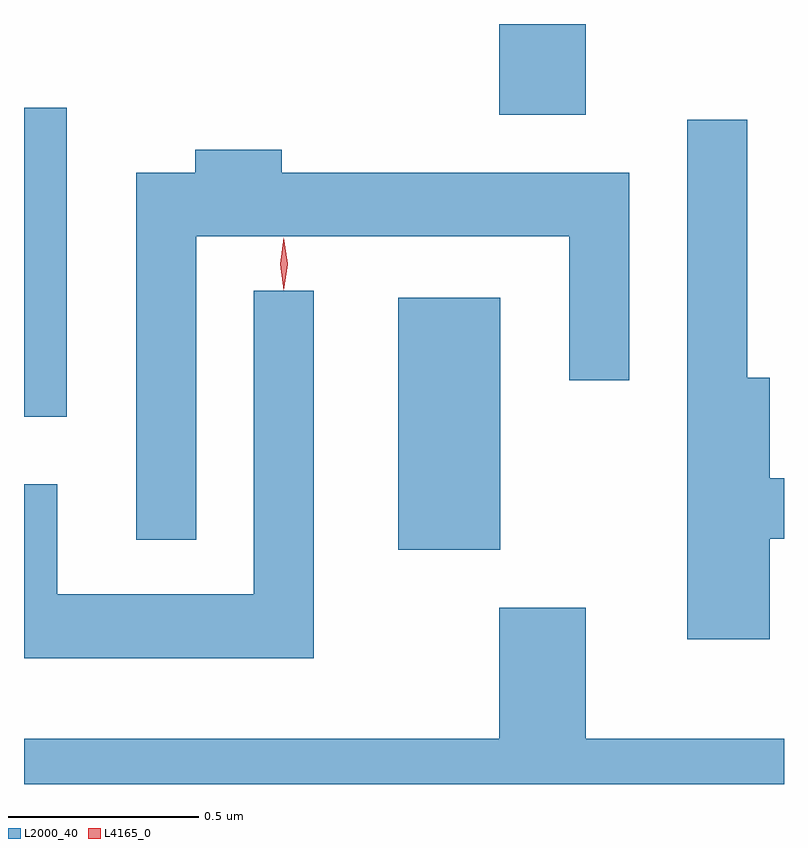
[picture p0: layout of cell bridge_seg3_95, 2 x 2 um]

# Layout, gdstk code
import gdstk
lib = gdstk.Library(unit=1e-6, precision=1e-09)
def R(c, l, rs):  # rectangles x0, y0, x1, y1
    for r in rs: c.add(gdstk.rectangle(r[:2], r[2:], *l))
def P(c, l, *ps):  # polygons
    for p in ps: c.add(gdstk.Polygon(p, *l))
L2000_40 = (2000, 40)
L4165_0 = (4165, 0)

bridge_seg3_95 = lib.new_cell('bridge_seg3_95')
R(bridge_seg3_95, L2000_40, [(923.806,1231.121,924.074,1231.784), (922.821,1231.471,922.934,1232.284), (924.071,1232.266,924.299,1232.505)])
P(bridge_seg3_95, L2000_40, [(924.784,1231.151),(924.821,1231.151),(924.821,1231.309),(924.784,1231.309),(924.784,1231.574),(924.724,1231.574),(924.724,1232.253),(924.566,1232.253),(924.566,1230.886),(924.784,1230.886)],
  [(923.274,1231.946),(924.256,1231.946),(924.256,1231.568),(924.414,1231.568),(924.414,1232.114),(923.499,1232.114),(923.499,1232.174),(923.271,1232.174),(923.271,1232.114),(923.116,1232.114),(923.116,1231.148),(923.274,1231.148)],
  [(923.584,1231.803),(923.426,1231.803),(923.426,1231.004),(922.909,1231.004),(922.909,1231.294),(922.821,1231.294),(922.821,1230.836),(923.584,1230.836)],
  [(924.821,1230.624),(924.299,1230.624),(924.299,1230.969),(924.071,1230.969),(924.071,1230.624),(922.821,1230.624),(922.821,1230.505),(924.821,1230.505)])
P(bridge_seg3_95, L4165_0, [(923.505,1231.807),(923.504,1231.808),(923.495,1231.874),(923.504,1231.94),(923.505,1231.941),(923.505,1231.94),(923.515,1231.874),(923.505,1231.808)],
  [(923.504,1231.804),(923.495,1231.873),(923.504,1231.943),(923.505,1231.943),(923.505,1231.943),(923.515,1231.873),(923.505,1231.804),(923.505,1231.804)])

lib.write_gds('bridge_seg3_95.gds')
